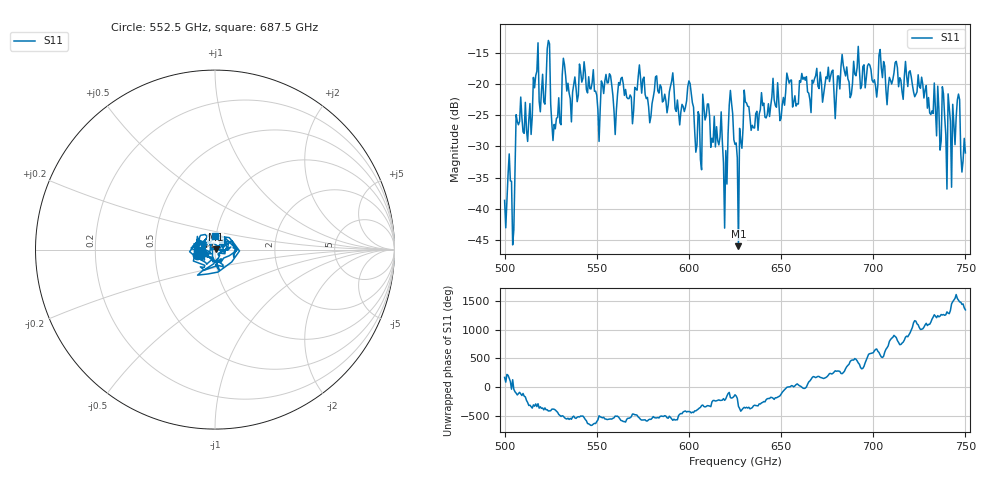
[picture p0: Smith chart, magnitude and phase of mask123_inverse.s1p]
!Created with skrf (http://scikit-rf.org).
# GHz S MA R 50.0
!freq magS11 angS11
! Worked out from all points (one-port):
!   401 points, 500 GHz to 750 GHz, reference 50 ohm
!   lowest |S11| = -46.0 dB at 626.9 GHz (marker M1), VSWR 1.01, Z = 50.5 + j0.229 ohm
!   |S11| at or under -10 dB: start of sweep to end of sweep
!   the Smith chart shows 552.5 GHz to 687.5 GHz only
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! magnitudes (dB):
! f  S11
! 500 GHz  -38.6
! 502.5 GHz  -31.2
! 504.4 GHz  -45.8
! 507.5 GHz  -26.5
! 513.8 GHz  -23.1
! 516.9 GHz  -18.7
! 520.6 GHz  -18.5
! 523.8 GHz  -13.0
! 526.9 GHz  -26.5
! 531.2 GHz  -18.6
! 556.2 GHz  -19.8
! 560 GHz  -28.1
! 562.5 GHz  -20.2
! 593.8 GHz  -22.6
! 600.6 GHz  -19.9
! 605.6 GHz  -25.0
! 608.8 GHz  -25.8
! 619.4 GHz  -43.1
! 622.5 GHz  -21.0
! 625 GHz  -29.7
! 626.9 GHz  -46.0
! 631.2 GHz  -23.0
! 656.2 GHz  -23.7
! 687.5 GHz  -22.2
! 718.8 GHz  -20.4
! 741.2 GHz  -23.8
! 745.6 GHz  -22.6
! 750 GHz  -31.0
